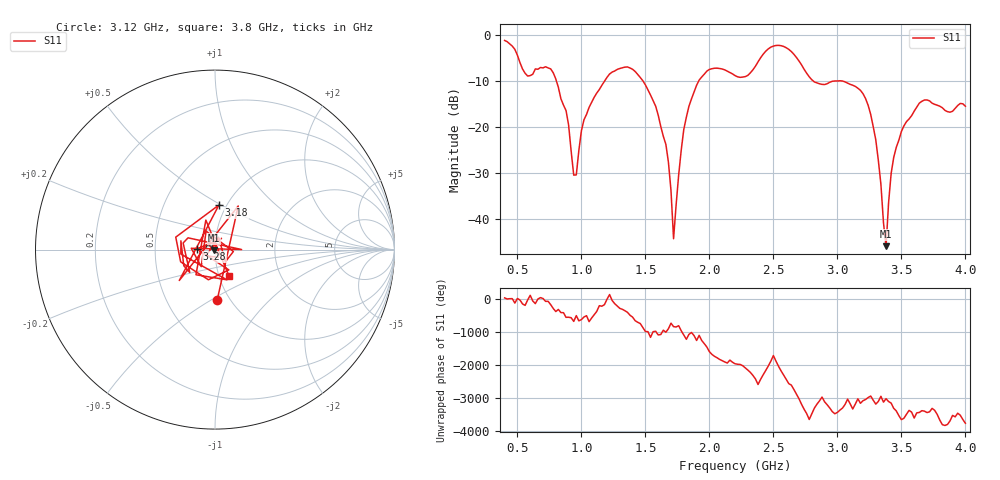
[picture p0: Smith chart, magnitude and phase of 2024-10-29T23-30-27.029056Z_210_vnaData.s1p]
!Created with skrf (http://scikit-rf.org).
# Hz S RI R 50.0
!freq ReS11 ImS11
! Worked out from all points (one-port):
!   181 points, 400 MHz to 4 GHz, reference 50 ohm
!   lowest |S11| = -45.8 dB at 3.38 GHz (marker M1), VSWR 1.01, Z = 49.6 - j0.349 ohm
!   |S11| at or under -10 dB: 804.4 MHz to 1.182 GHz (377.8 MHz wide, 38 % of centre); 1.48 GHz to 1.917 GHz (436.8 MHz wide, 25.7 % of centre); 3.024 GHz to end of sweep (the widest 3 of 4)
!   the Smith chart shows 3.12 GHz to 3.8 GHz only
!   S11 on the Smith chart (normalised r, x): 3.12 GHz: 0.87, -0.54; 3.18 GHz: 0.92, +0.49; 3.28 GHz: 0.82, +0.01; 3.8 GHz: 1.12, -0.34
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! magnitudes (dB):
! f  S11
! 400 MHz  -1.2
! 580 MHz  -9.0
! 760 MHz  -7.4
! 860 MHz  -15.3
! 900 MHz  -19.6
! 940 MHz  -30.4
! 960 MHz  -30.4
! 1.02 GHz  -18.4
! 1.3 GHz  -7.3
! 1.58 GHz  -15.5
! 1.68 GHz  -27.7
! 1.72 GHz  -44.2
! 1.76 GHz  -30.4
! 1.82 GHz  -17.9
! 1.92 GHz  -9.8
! 2.2 GHz  -8.9
! 2.5 GHz  -2.5
! 2.66 GHz  -4.2
! 2.82 GHz  -10.2
! 3.1 GHz  -10.8
! 3.12 GHz  -11.0
! 3.18 GHz  -12.1
! 3.28 GHz  -20.0
! 3.38 GHz  -45.8
! 3.44 GHz  -26.6
! 3.56 GHz  -18.3
! 3.8 GHz  -15.5
! 4 GHz  -15.5
